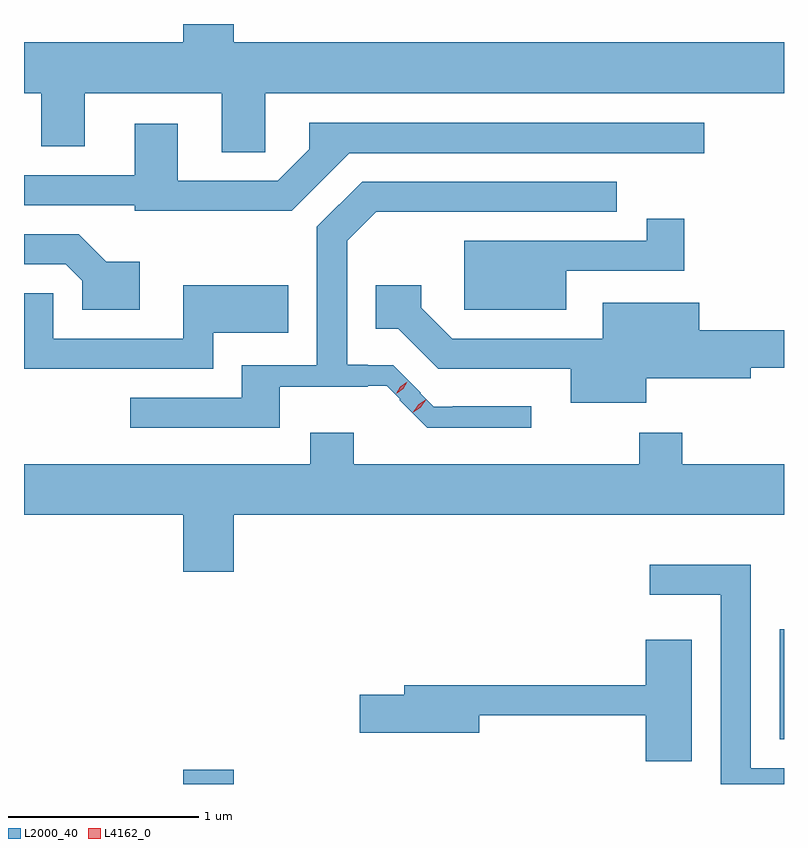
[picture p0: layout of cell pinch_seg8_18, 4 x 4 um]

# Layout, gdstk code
import gdstk
lib = gdstk.Library(unit=1e-6, precision=1e-09)
def R(c, l, rs):  # rectangles x0, y0, x1, y1
    for r in rs: c.add(gdstk.rectangle(r[:2], r[2:], *l))
def P(c, l, *ps):  # polygons
    for p in ps: c.add(gdstk.Polygon(p, *l))
L2000_40 = (2000, 40)
L4162_0 = (4162, 0)

pinch_seg8_18 = lib.new_cell('pinch_seg8_18')
R(pinch_seg8_18, L2000_40, [(1713.576,1928.24,1713.844,1928.314), (1716.716,1928.476,1716.739,1929.054)])
P(pinch_seg8_18, L2000_40, [(1714.009,1931.876),(1716.739,1931.876),(1716.739,1932.144),(1713.844,1932.144),(1713.844,1932.24),(1713.576,1932.24),(1713.576,1932.144),(1712.739,1932.144),(1712.739,1931.876),(1712.831,1931.876),(1712.831,1931.596),(1713.059,1931.596),(1713.059,1931.876),(1713.781,1931.876),(1713.781,1931.566),(1714.009,1931.566)],
  [(1714.452,1931.561),(1716.318,1931.561),(1716.318,1931.719),(1714.241,1931.719),(1714.241,1931.582),(1714.074,1931.414),(1713.549,1931.414),(1713.549,1931.714),(1713.321,1931.714),(1713.321,1931.444),(1712.739,1931.444),(1712.739,1931.286),(1713.321,1931.286),(1713.321,1931.256),(1714.147,1931.256)],
  [(1714.084,1930.331),(1714.547,1930.331),(1714.547,1930.335),(1714.647,1930.335),(1714.718,1930.264),(1714.715,1930.262),(1714.861,1930.116),(1715.408,1930.116),(1715.408,1930.229),(1714.995,1930.229),(1714.995,1930.225),(1714.895,1930.225),(1714.824,1930.296),(1714.827,1930.299),(1714.682,1930.444),(1714.547,1930.444),(1714.547,1930.447),(1714.439,1930.447),(1714.439,1931.099),(1714.592,1931.251),(1715.858,1931.251),(1715.858,1931.409),(1714.519,1931.409),(1714.281,1931.172),(1714.281,1930.444),(1713.886,1930.444),(1713.886,1930.274),(1713.298,1930.274),(1713.298,1930.116),(1714.084,1930.116)],
  [(1715.594,1930.941),(1716.214,1930.941),(1716.214,1931.214),(1716.016,1931.214),(1716.016,1931.099),(1715.056,1931.099),(1715.056,1930.736),(1715.594,1930.736)],
  [(1713.349,1930.989),(1713.172,1930.989),(1713.027,1931.134),(1712.739,1931.134),(1712.739,1930.976),(1712.959,1930.976),(1713.046,1930.889),(1713.046,1930.736),(1713.349,1930.736)],
  [(1713.734,1930.616),(1714.129,1930.616),(1714.129,1930.864),(1713.576,1930.864),(1713.576,1930.584),(1712.894,1930.584),(1712.894,1930.824),(1712.739,1930.824),(1712.739,1930.426),(1713.734,1930.426)],
  [(1716.014,1930.376),(1716.564,1930.376),(1716.564,1930.431),(1716.739,1930.431),(1716.739,1930.629),(1716.294,1930.629),(1716.294,1930.774),(1715.786,1930.774),(1715.786,1930.584),(1714.992,1930.584),(1714.829,1930.747),(1714.829,1930.864),(1714.591,1930.864),(1714.591,1930.636),(1714.709,1930.636),(1714.919,1930.426),(1715.616,1930.426),(1715.616,1930.246),(1716.014,1930.246)],
  [(1713.844,1929.656),(1716.739,1929.656),(1716.739,1929.924),(1716.204,1929.924),(1716.204,1930.089),(1715.976,1930.089),(1715.976,1929.924),(1714.474,1929.924),(1714.474,1930.089),(1714.246,1930.089),(1714.246,1929.924),(1712.739,1929.924),(1712.739,1929.656),(1713.576,1929.656),(1713.576,1929.356),(1713.844,1929.356)],
  [(1716.739,1928.324),(1716.564,1928.324),(1716.564,1929.394),(1716.033,1929.394),(1716.033,1929.236),(1716.406,1929.236),(1716.406,1928.24),(1716.739,1928.24)],
  [(1716.254,1928.999),(1716.011,1928.999),(1716.011,1928.759),(1714.741,1928.759),(1714.741,1928.709),(1714.506,1928.709),(1714.506,1928.511),(1715.134,1928.511),(1715.134,1928.601),(1716.011,1928.601),(1716.011,1928.361),(1716.254,1928.361)])
P(pinch_seg8_18, L4162_0, [(1714.784,1930.193),(1714.784,1930.194),(1714.813,1930.236),(1714.855,1930.264),(1714.856,1930.264),(1714.856,1930.264),(1714.827,1930.222),(1714.785,1930.193)],
  [(1714.697,1930.293),(1714.697,1930.294),(1714.72,1930.332),(1714.757,1930.358),(1714.757,1930.358),(1714.757,1930.357),(1714.734,1930.319),(1714.697,1930.293)])

lib.write_gds('pinch_seg8_18.gds')
